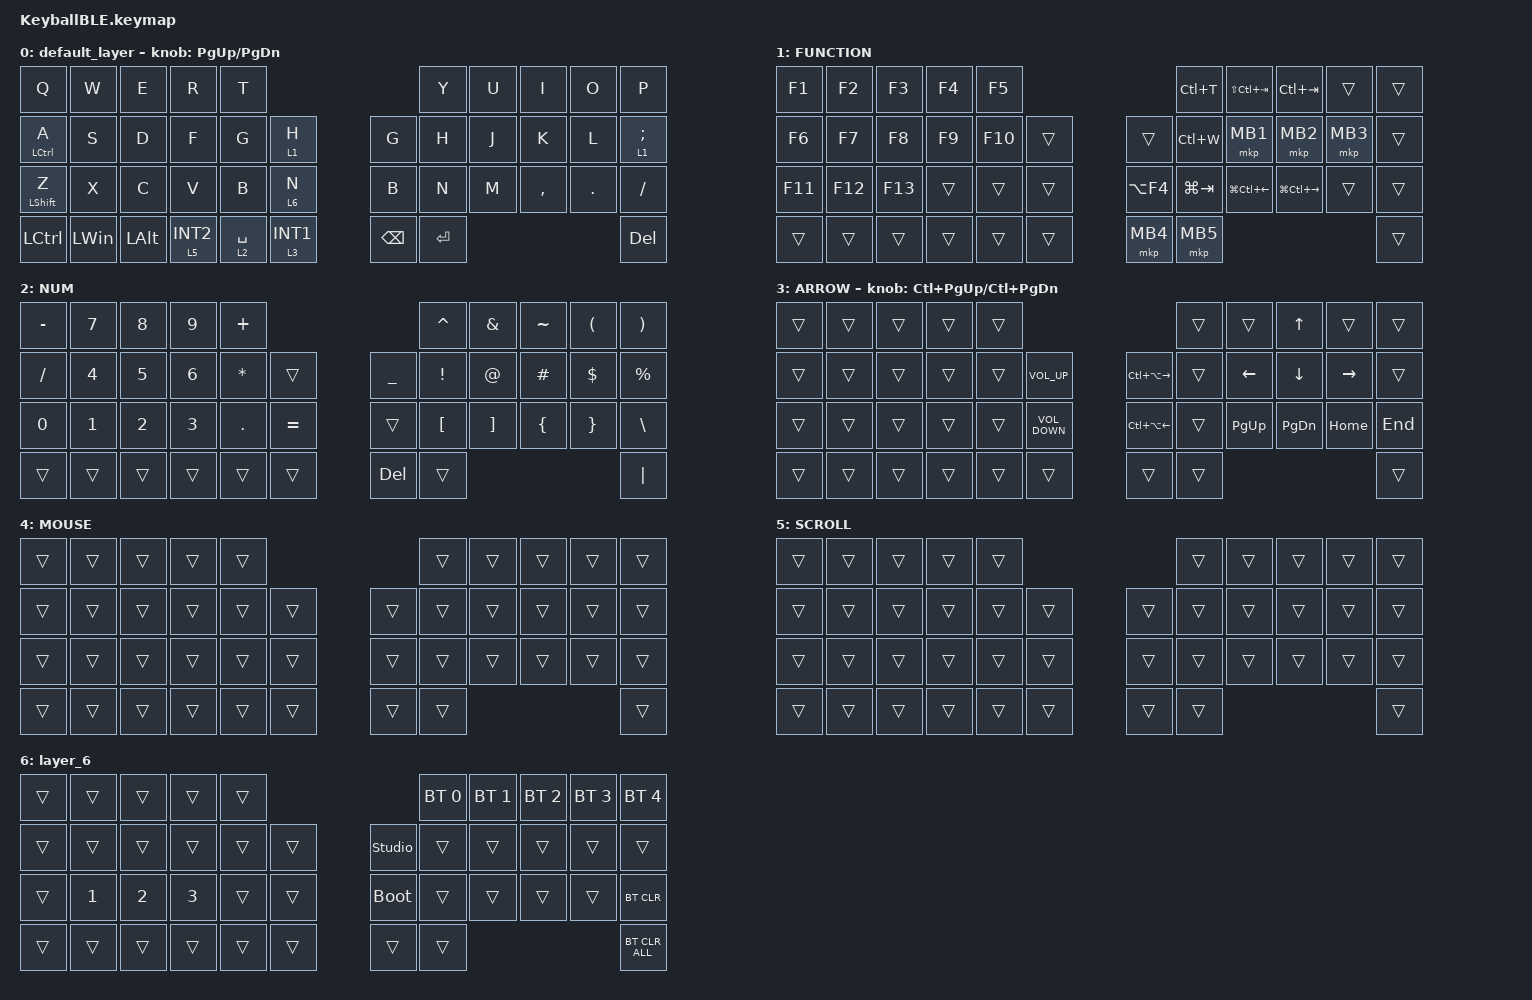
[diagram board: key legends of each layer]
#include <behaviors.dtsi>
#include <dt-bindings/zmk/bt.h>
#include <dt-bindings/zmk/keys.h>
#include <dt-bindings/zmk/pointing.h>

#define MOUSE 4
#define SCROLL 5
#define NUM 6

&mt {
    flavor = "balanced";
    quick-tap-ms = <0>;
};

/ {
    combos {
        compatible = "zmk,combos";

        double_quotation {
            bindings = <&kp DOUBLE_QUOTES>;
            key-positions = <20 21>;
        };
    };

    macros {
        to_layer_0: to_layer_0 {
            compatible = "zmk,behavior-macro-one-param";
            #binding-cells = <1>;
            bindings = <&to 0 &macro_param_1to1 &kp MACRO_PLACEHOLDER>;
            label = "TO_LAYER_0";
        };
    };

    behaviors {
        lt_to_layer_0: lt_to_layer_0 {
            compatible = "zmk,behavior-hold-tap";
            label = "LAYER_TAP_TO_0";
            bindings = <&mo>, <&to_layer_0>;

            #binding-cells = <2>;
            tapping-term-ms = <200>;
        };
    };

    keymap {
        compatible = "zmk,keymap";

        default_layer {
            bindings = <
&kp Q             &kp W         &kp E         &kp R                  &kp T                                                             &kp Y      &kp U  &kp I      &kp O    &kp P
&mt LCTRL A       &kp S         &kp D         &kp F                  &kp G                   &lt_to_layer_0 1 H         &kp G          &kp H      &kp J  &kp K      &kp L    &lt_to_layer_0 1 SEMICOLON
&mt LEFT_SHIFT Z  &kp X         &kp C         &kp V                  &kp B                   &lt_to_layer_0 6 N         &kp B          &kp N      &kp M  &kp COMMA  &kp DOT  &kp SLASH
&kp LCTRL         &kp LEFT_WIN  &kp LEFT_ALT  &lt_to_layer_0 5 INT2  &lt_to_layer_0 2 SPACE  &lt_to_layer_0 3 INT1      &kp BACKSPACE  &kp ENTER                             &kp DEL
            >;

            sensor-bindings = <&inc_dec_kp PG_UP PAGE_DOWN>;
        };

        FUNCTION {
            bindings = <
&kp F1   &kp F2   &kp F3   &kp F4  &kp F5                           &kp LC(T)    &kp LS(LC(TAB))         &kp LC(TAB)              &trans    &trans
&kp F6   &kp F7   &kp F8   &kp F9  &kp F10  &trans      &trans      &kp LC(W)    &mkp MB1                &mkp MB2                 &mkp MB3  &trans
&kp F11  &kp F12  &kp F13  &trans  &trans   &trans      &kp LA(F4)  &kp LG(TAB)  &kp LG(LC(LEFT_ARROW))  &kp LG(LC(RIGHT_ARROW))  &trans    &trans
&trans   &trans   &trans   &trans  &trans   &trans      &mkp MB4    &mkp MB5                                                                &trans
            >;
        };

        NUM {
            bindings = <
&kp MINUS  &kp N7        &kp N8  &kp N9  &kp PLUS                                     &kp CARET         &kp AMPERSAND      &kp TILDE       &kp LEFT_PARENTHESIS  &kp RIGHT_PARENTHESIS
&kp SLASH  &kp N4        &kp N5  &kp N6  &kp ASTERISK  &trans         &kp UNDERSCORE  &kp EXCLAMATION   &kp AT_SIGN        &kp HASH        &kp DOLLAR            &kp PERCENT
&kp N0     &kp NUMBER_1  &kp N2  &kp N3  &kp PERIOD    &kp EQUAL      &trans          &kp LEFT_BRACKET  &kp RIGHT_BRACKET  &kp LEFT_BRACE  &kp RIGHT_BRACE       &kp BACKSLASH
&trans     &trans        &trans  &trans  &trans        &trans         &kp DEL         &trans                                                                     &kp PIPE
            >;
        };

        ARROW {
            bindings = <
&trans  &trans  &trans  &trans  &trans                                                  &trans  &trans          &kp UP_ARROW    &trans           &trans
&trans  &trans  &trans  &trans  &trans  &kp C_VOLUME_UP        &kp LC(LA(RIGHT_ARROW))  &trans  &kp LEFT_ARROW  &kp DOWN_ARROW  &kp RIGHT_ARROW  &trans
&trans  &trans  &trans  &trans  &trans  &kp C_VOLUME_DOWN      &kp LC(LA(LEFT_ARROW))   &trans  &kp PG_UP       &kp PG_DN       &kp HOME         &kp END
&trans  &trans  &trans  &trans  &trans  &trans                 &trans                   &trans                                                   &trans
            >;

            sensor-bindings = <&inc_dec_kp LC(PAGE_UP) LC(PAGE_DOWN)>;
        };

        MOUSE {
            bindings = <
&trans  &trans  &trans  &trans  &trans                      &trans  &trans  &trans  &trans  &trans
&trans  &trans  &trans  &trans  &trans  &trans      &trans  &trans  &trans  &trans  &trans  &trans
&trans  &trans  &trans  &trans  &trans  &trans      &trans  &trans  &trans  &trans  &trans  &trans
&trans  &trans  &trans  &trans  &trans  &trans      &trans  &trans                          &trans
            >;
        };

        SCROLL {
            bindings = <
&trans  &trans  &trans  &trans  &trans                      &trans  &trans  &trans  &trans  &trans
&trans  &trans  &trans  &trans  &trans  &trans      &trans  &trans  &trans  &trans  &trans  &trans
&trans  &trans  &trans  &trans  &trans  &trans      &trans  &trans  &trans  &trans  &trans  &trans
&trans  &trans  &trans  &trans  &trans  &trans      &trans  &trans                          &trans
            >;
        };

        layer_6 {
            bindings = <
&trans  &trans        &trans        &trans        &trans                              &bt BT_SEL 0  &bt BT_SEL 1  &bt BT_SEL 2  &bt BT_SEL 3  &bt BT_SEL 4
&trans  &trans        &trans        &trans        &trans  &trans      &studio_unlock  &trans        &trans        &trans        &trans        &trans
&trans  &kp NUMBER_1  &kp NUMBER_2  &kp NUMBER_3  &trans  &trans      &bootloader     &trans        &trans        &trans        &trans        &bt BT_CLR
&trans  &trans        &trans        &trans        &trans  &trans      &trans          &trans                                                  &bt BT_CLR_ALL
            >;
        };
    };
};
